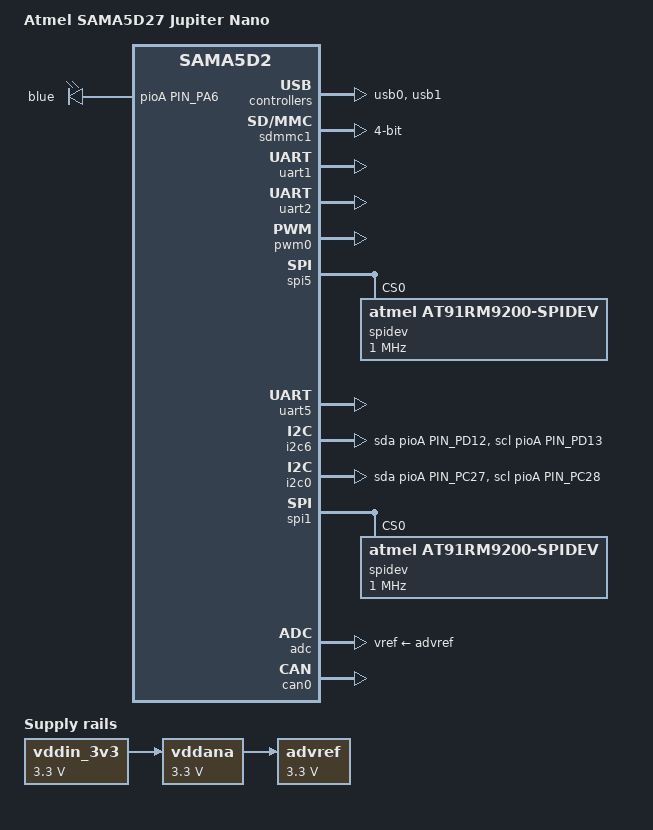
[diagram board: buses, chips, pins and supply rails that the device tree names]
// SPDX-License-Identifier: (GPL-2.0+ OR MIT)
/*
 * at91-sama5d27_jupiter_nano.dts - Device Tree file for Jupiter Nano board
 *
 * Contributed by: Shashank Kulkarni
 * 
 * Jupiter Nano is an open source hardware board based on the Microchip SAMA5D27
 * processor with 1 Gbit LPDDR2 integrated inside the package. This board is designed
 * by Starcat.io.
 *
 *
 *  Copyright (c) 2017, Microchip Technology Inc.
 *                2016 Nicolas Ferre <nicolas.ferre@atmel.com>
 *                2017 Cristian Birsan <cristian.birsan@microchip.com>
 *                2017 Claudiu Beznea <claudiu.beznea@microchip.com>
 */

 /*
	----------------------------------------------------------------------
	4 July - Pinout Update - Shashank Kulkarni (shanky.kulkarni@gmail.com)
	----------------------------------------------------------------------

	Fx = FLEXCOM, F0 = UART, F3 = SPI, F4 = I2C

				------------------------
	GND			(25)  -			  -	 (01)	GND
	VBAT IN		(26)  -			  -	 (02)	3V3 OUT
	WAKEUP		(27)  -			  -	 (03)	AREF
	VBUS 5V IN	(28)  -			  -	 (04)	RESET
	ADTRG		(29) PD31		PD19 (05)	UART2 RXD
	PWMH1		(30) PB00		PD20 (06)	UART2 TXD
	PWML1		(31) PB01		PD21 (07)	ANALOG1
	PWMH2		(32) PB05		PD22 (08)	ANALOG2
	PWML2		(33) PB06		PD23 (09)	ANALOG3
	GPIO9 - D1	(34) PB07		PA27 (10)	GPIO6
	GPIO10 - D2	(35) PB08		PC05 (11)	GPIO7 - PB1
	PWMEXTTRG1	(36) PB03		PC03 (12)	GPIO8 - PB2
	I2C0 SCL	(37) PC28		PC01 (13)	CAN0 TXD
	I2C0 SDA	(38) PC27		PC02 (14)	CAN0 RXD
	SPI1 MOSI	(39) PD26		PB28 (15)	F0 UTXD
	SPI1 MISO	(40) PD27		PB29 (16)	F0 URXD
	SPI1 CS0	(41) PD28		PB30 (17)	F0 USCK
	GPIO1		(42) PD29		PB31 (18)	F0 UCTS
	GPIO2		(43) PD30		PC00 (19)	F0 URTS
	F3 MOSI		(44) PA15		PD12 (20)	F4 SCL
	F3 MISO		(45) PA13		PD13 (21)	F4 SDA
	F3 SCK		(46) PA14		PC30 (22)	GPIO3
	F3 CS0		(47) PA16		PC31 (23)	GPIO4
	GPIO5		(48) PA17		PD25 (24)	SPI1 SCK
				-------------------------

 */
/dts-v1/;
#include "at91-sama5d27_jupiter_nano.dtsi"
#include <dt-bindings/mfd/atmel-flexcom.h>
#include <dt-bindings/gpio/gpio.h>
#include <dt-bindings/input/input.h>

/ {
	model = "Atmel SAMA5D27 Jupiter Nano";
	compatible = "atmel,sama5d27-jupiter-nano", "atmel,sama5d27-som1", "atmel,sama5d27", "atmel,sama5d2", "atmel,sama5";

	aliases {
		serial0 = &uart1;	/* DBGU - data is available on USB port (MCP2200 USB <-> Serial converter) */
		serial1 = &uart8;	/* Flexcom 3 */
		i2c1	= &i2c3;
	};

	chosen {
		stdout-path = "serial0:115200n8";
	};

	ahb {
		usb0: gadget@300000 {
			status = "okay";
		};

		usb1: ohci@400000 {
			num-ports = <3>;
			status = "okay";
		};

		sdmmc1: sdio-host@b0000000 {
			bus-width = <4>;
			pinctrl-names = "default";
			pinctrl-0 = <&pinctrl_sdmmc1_default>;
			status = "okay";
		};

		apb {
			tcb0: timer@f800c000 {
				timer0: timer@0 {
					compatible = "atmel,tcb-timer";
					reg = <0>;
				};

				timer1: timer@1 {
					compatible = "atmel,tcb-timer";
					reg = <1>;
				};
			};

			uart1: serial@f8020000 {
				pinctrl-names = "default";
				pinctrl-0 = <&pinctrl_uart1_default>;
				atmel,use-dma-rx;
				atmel,use-dma-tx;
				status = "okay";
			};

			uart2: serial@f8024000 {
				pinctrl-names = "default";
				pinctrl-0 = <&pinctrl_uart2_default>;
				atmel,use-dma-rx;
				atmel,use-dma-tx;
				status = "okay";
			};

			pwm0: pwm@f802c000 {
				pinctrl-names = "default";
				pinctrl-0 = <&pinctrl_ch1_high &pinctrl_ch2_high>;
				status = "okay";
			};

			flx3: flexcom@fc014000 {
				atmel,flexcom-mode = <ATMEL_FLEXCOM_MODE_SPI>;
				status = "okay";

				spi5: spi@400 {
					pinctrl-names = "default";
					pinctrl-0 = <&pinctrl_flx3_default>;
					status = "okay";

					spidev@0 {
						compatible = "atmel,at91rm9200-spidev";
						reg = <0>;
						spi-max-frequency = <1000000>;
					};
				};
			};

			flx0: flexcom@f8034000 {
				atmel,flexcom-mode = <ATMEL_FLEXCOM_MODE_USART>;
				status = "okay";

				uart5: serial@200 {
					pinctrl-names = "default";
					pinctrl-0 = <&pinctrl_flx0_default>;
					status = "okay";

				};
			};

			flx4: flexcom@fc018000 {
				atmel,flexcom-mode = <ATMEL_FLEXCOM_MODE_TWI>;
				status = "okay";

				i2c6: i2c@600 {
					dmas = <0>, <0>;
					i2c-analog-filter;
					i2c-digital-filter;
					i2c-digital-filter-width-ns = <35>;
					pinctrl-names = "default", "gpio";
					pinctrl-0 = <&pinctrl_f4_i2c_gpio>;
					sda-gpios = <&pioA PIN_PD12 GPIO_ACTIVE_HIGH>;
					scl-gpios = <&pioA PIN_PD13 (GPIO_ACTIVE_HIGH | GPIO_OPEN_DRAIN)>;
					status = "okay";
				};
			};

			i2c0: i2c@f8028000 {
				dmas = <0>, <0>;
				i2c-analog-filter;
				i2c-digital-filter;
				i2c-digital-filter-width-ns = <35>;
				pinctrl-names = "default", "gpio";
				pinctrl-0 = <&pinctrl_i2c0_gpio>;
				sda-gpios = <&pioA PIN_PC27 GPIO_ACTIVE_HIGH>;
				scl-gpios = <&pioA PIN_PC28 (GPIO_ACTIVE_HIGH | GPIO_OPEN_DRAIN)>;
				status = "okay";
			};

			spi1: spi@fc000000 {
				pinctrl-names = "default";
				pinctrl-0 = <&pinctrl_spi1_default>;
				status = "okay";

				spidev@0 {
					compatible = "atmel,at91rm9200-spidev";
					reg = <0>;
					spi-max-frequency = <1000000>;
				};
			};


			shdwc@f8048010 {
				debounce-delay-us = <976>;
				atmel,wakeup-rtc-timer;

				input@0 {
					reg = <0>;
				};
			};

			watchdog@f8048040 {
				status = "okay";
			};

			adc: adc@fc030000 {
				vddana-supply = <&vddana>;
				vref-supply = <&advref>;
				pinctrl-names = "default";
				pinctrl-0 = <&pinctrl_ad2 &pinctrl_ad3 &pinctrl_ad4>;

				status = "okay";
			};

			pinctrl@fc038000 {

				pinctrl_can0_default: can0_default {
					pinmux = <PIN_PC1__CANTX0>,
						 <PIN_PC2__CANRX0>;
					bias-disable;
				};

				pinctrl_flx3_default: flx3_default {
					pinmux = <PIN_PA15__FLEXCOM3_IO0>,
						 <PIN_PA13__FLEXCOM3_IO1>,
						 <PIN_PA14__FLEXCOM3_IO2>,
						 <PIN_PA16__FLEXCOM3_IO3>,
						 <PIN_PA17__FLEXCOM3_IO4>;
					bias-disable;
				};

				pinctrl_f4_i2c_gpio: f4_i2c_gpio {
					pinmux = <PIN_PD12__FLEXCOM4_IO0>,
						 <PIN_PD13__FLEXCOM4_IO1>;
					bias-disable;
				};

				pinctrl_i2c0_gpio: i2c0_gpio {
					pinmux = <PIN_PC27__TWD0>,
						 <PIN_PC28__TWCK0>;
					bias-disable;
				};

				pinctrl_spi1_default: spi1_default {
					pinmux = <PIN_PD25__SPI1_SPCK>,
						 <PIN_PD26__SPI1_MOSI>,
						 <PIN_PD27__SPI1_MISO>,
						 <PIN_PD28__SPI1_NPCS0>;
					bias-disable;
				};

				pinctrl_led_gpio_default: led_gpio_default {
					pinmux = <PIN_PA6__GPIO>;
					bias-pull-up;
				};

				pinctrl_sdmmc1_default: sdmmc1_default {
					cmd_data {
						pinmux = <PIN_PA28__SDMMC1_CMD>,
							 <PIN_PA18__SDMMC1_DAT0>,
							 <PIN_PA19__SDMMC1_DAT1>,
							 <PIN_PA20__SDMMC1_DAT2>,
							 <PIN_PA21__SDMMC1_DAT3>;
						bias-disable;
					};

					conf-ck_cd {
						pinmux = <PIN_PA22__SDMMC1_CK>,
							 <PIN_PA30__SDMMC1_CD>;
						bias-disable;
					};
				};

				pinctrl_uart1_default: uart1_default {
					pinmux = <PIN_PD2__URXD1>,
						 <PIN_PD3__UTXD1>;
					bias-disable;
				};

				pinctrl_uart2_default: uart2_default {
					pinmux = <PIN_PD19__URXD2>,
						 <PIN_PD20__UTXD2>;
					bias-disable;
				};

				pinctrl_ad2: ad2 {
					pinmux = <PIN_PD21__GPIO>;
					bias-disable;
				};

				pinctrl_ad3: ad3 {
					pinmux = <PIN_PD22__GPIO>;
					bias-disable;
				};

				pinctrl_ad4: ad4 {
					pinmux = <PIN_PD23__GPIO>;
					bias-disable;
				};

				pinctrl_flx0_default: flx0_default {
					pinmux = <PIN_PB28__FLEXCOM0_IO0>,
						 <PIN_PB29__FLEXCOM0_IO1>,
						 <PIN_PB30__FLEXCOM0_IO2>,
						 <PIN_PB31__FLEXCOM0_IO3>,
						 <PIN_PC0__FLEXCOM0_IO4>;
					bias-disable;
				};

				pinctrl_ch1_high: ch1_high {
					pinmux = <PIN_PB0__PWMH1>;
					bias-disable;
				};

				pinctrl_ch2_high: ch2_high {
					pinmux = <PIN_PB5__PWMH2>;
					bias-disable;
				};

			};

			can0: can@f8054000 {
				pinctrl-names = "default";
				pinctrl-0 = <&pinctrl_can0_default>;
				status = "okay";
			};
		};
	};

	leds {
		compatible = "gpio-leds";
		pinctrl-names = "default";
		pinctrl-0 = <&pinctrl_led_gpio_default>;
		status = "okay"; 

		blue {
			label = "blue";
			gpios = <&pioA PIN_PA6 GPIO_ACTIVE_HIGH>;
			linux,default-trigger = "heartbeat";
		};
	};

	vddin_3v3: fixed-regulator-vddin_3v3 {
		compatible = "regulator-fixed";

		regulator-name = "VDDIN_3V3";
		regulator-min-microvolt = <3300000>;
		regulator-max-microvolt = <3300000>;
		regulator-always-on;
		regulator-boot-on;
		status = "okay";
	};

	vddana: fixed-regulator-vddana {
		compatible = "regulator-fixed";

		regulator-name = "VDDANA";
		regulator-min-microvolt = <3300000>;
		regulator-max-microvolt = <3300000>;
		regulator-always-on;
		regulator-boot-on;
		vin-supply = <&vddin_3v3>;
		status = "okay";
	};

	advref: fixed-regulator-advref {
		compatible = "regulator-fixed";

		regulator-name = "advref";
		regulator-min-microvolt = <3300000>;
		regulator-max-microvolt = <3300000>;
		regulator-always-on;
		regulator-boot-on;
		vin-supply = <&vddana>;
		status = "okay";
	};
};
